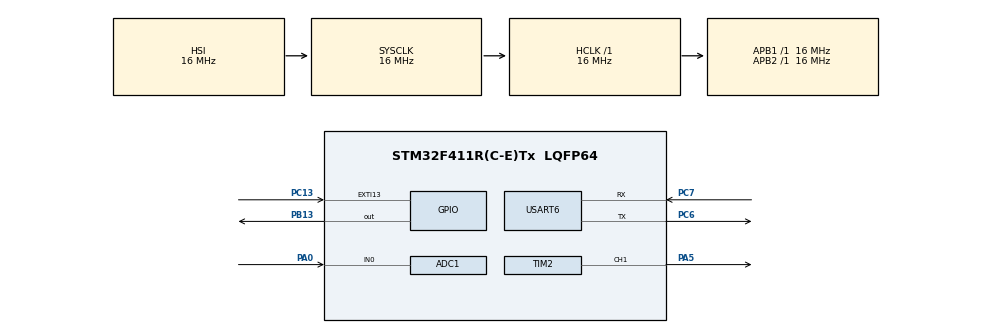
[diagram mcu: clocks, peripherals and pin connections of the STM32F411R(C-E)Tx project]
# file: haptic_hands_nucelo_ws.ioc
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ADC1.Channel-0\#ChannelRegularConversion=ADC_CHANNEL_0
ADC1.ContinuousConvMode=DISABLE
ADC1.DMAContinuousRequests=ENABLE
ADC1.ExternalTrigConv=ADC_EXTERNALTRIGCONV_T3_TRGO
ADC1.InjNumberOfConversion=0
ADC1.NbrOfConversion=1
ADC1.NbrOfConversionFlag=1
ADC1.Rank-0\#ChannelRegularConversion=1
ADC1.SamplingTime-0\#ChannelRegularConversion=ADC_SAMPLETIME_3CYCLES
ADC1.master=1
Dma.ADC1.0.Direction=DMA_PERIPH_TO_MEMORY
Dma.ADC1.0.FIFOMode=DMA_FIFOMODE_DISABLE
Dma.ADC1.0.Instance=DMA2_Stream0
Dma.ADC1.0.MemDataAlignment=DMA_MDATAALIGN_HALFWORD
Dma.ADC1.0.MemInc=DMA_MINC_ENABLE
Dma.ADC1.0.Mode=DMA_CIRCULAR
Dma.ADC1.0.PeriphDataAlignment=DMA_PDATAALIGN_HALFWORD
Dma.ADC1.0.PeriphInc=DMA_PINC_DISABLE
Dma.ADC1.0.Priority=DMA_PRIORITY_LOW
Dma.Request0=ADC1
Dma.Request1=USART6_RX
Dma.USART6_RX.1.Direction=DMA_PERIPH_TO_MEMORY
Dma.USART6_RX.1.FIFOMode=DMA_FIFOMODE_DISABLE
Dma.USART6_RX.1.Instance=DMA2_Stream1
Dma.USART6_RX.1.MemDataAlignment=DMA_MDATAALIGN_BYTE
Dma.USART6_RX.1.MemInc=DMA_MINC_ENABLE
Dma.USART6_RX.1.Mode=DMA_CIRCULAR
Dma.USART6_RX.1.PeriphDataAlignment=DMA_PDATAALIGN_BYTE
Dma.USART6_RX.1.PeriphInc=DMA_PINC_DISABLE
Dma.USART6_RX.1.Priority=DMA_PRIORITY_LOW
Mcu.Family=STM32F4
Mcu.Name=STM32F411R(C-E)Tx
Mcu.Package=LQFP64
NVIC.DMA2_Stream0_IRQn=true\:0\:0\:false\:false\:true\:false\:true\:true
NVIC.DMA2_Stream1_IRQn=true\:0\:0\:false\:false\:true\:false\:true\:true
NVIC.EXTI15_10_IRQn=true\:0\:0\:false\:false\:true\:true\:true\:true
NVIC.PriorityGroup=NVIC_PRIORITYGROUP_4
NVIC.TIM3_IRQn=true\:0\:0\:false\:false\:true\:true\:true\:true
PA0-WKUP.Signal=ADCx_IN0
PA5.Signal=S_TIM2_CH1_ETR
PB13.Signal=GPIO_Output
PC13-ANTI_TAMP.Signal=GPXTI13
PC6.Mode=Asynchronous
PC6.Signal=USART6_TX
PC7.Mode=Asynchronous
PC7.Signal=USART6_RX
ProjectManager.HeapSize=0x200
ProjectManager.StackSize=0x400
ProjectManager.TargetToolchain=STM32CubeIDE
RCC.AHBFreq_Value=16000000
RCC.APB1Freq_Value=16000000
RCC.APB2Freq_Value=16000000
RCC.CortexFreq_Value=16000000
RCC.HSE_VALUE=25000000
RCC.HSI_VALUE=16000000
RCC.LSE_VALUE=32768
RCC.SYSCLKFreq_VALUE=16000000
RCC.VCOOutputFreq_Value=192000000
SH.ADCx_IN0.0=ADC1_IN0,IN0
SH.S_TIM2_CH1_ETR.0=TIM2_CH1,PWM Generation1 CH1
TIM2.AutoReloadPreload=TIM_AUTORELOAD_PRELOAD_ENABLE
TIM2.Channel-PWM\ Generation1\ CH1=TIM_CHANNEL_1
TIM2.Period=80000
TIM2.Prescaler=3
TIM3.Period=16000-1
TIM3.TIM_MasterOutputTrigger=TIM_TRGO_UPDATE
USART6.VirtualMode=VM_ASYNC
VP_TIM2_VS_ClockSourceINT.Mode=Internal
VP_TIM3_VS_ClockSourceINT.Mode=Internal
board=custom

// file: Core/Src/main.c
/* USER CODE BEGIN Header */
/**
  ******************************************************************************
  * @file           : main.c
  * @brief          : Main program body
  ******************************************************************************
  * @attention
  *
  * Copyright (c) 2022 STMicroelectronics.
  * All rights reserved.
  *
  * This software is licensed under terms that can be found in the LICENSE file
  * in the root directory of this software component.
  * If no LICENSE file comes with this software, it is provided AS-IS.
  *
  ******************************************************************************
  */
/* USER CODE END Header */
#include "main.h"

/* USER CODE BEGIN Includes */
#include "potentiometer.h"
#include "servo.h"
#include "comms.h"

/* USER CODE END Includes */

 ADC_HandleTypeDef hadc1;
DMA_HandleTypeDef hdma_adc1;

TIM_HandleTypeDef htim2;
TIM_HandleTypeDef htim3;

UART_HandleTypeDef huart6;
DMA_HandleTypeDef hdma_usart6_rx;

/* USER CODE BEGIN PV */
uint32_t adc_buffer[10];
FingerState finger_state = (FingerState){.valid=0,
										  .angle0=0, .coll0=0,
										  .angle1=0, .coll1=0,
										  .angle2=0, .coll2=0,
										  .angle3=0, .coll3=0,
										  .angle4=0, .coll4=0};

/* USER CODE END PV */

void SystemClock_Config(void);
static void MX_GPIO_Init(void);
static void MX_DMA_Init(void);
static void MX_ADC1_Init(void);
static void MX_USART6_UART_Init(void);
static void MX_TIM2_Init(void);
static void MX_TIM3_Init(void);

/* USER CODE BEGIN 0 */

//#define DEBUG
#ifdef DEBUG
void HAL_Delay(uint32_t Delay){
	for(volatile int i = 0; i < Delay * 1000; ++i);
}
#endif

void HAL_GPIO_EXTI_Callback(uint16_t GPIO_PIN){
	if(GPIO_PIN != GPIO_PIN_13) return;
	//Map & calibrate potentiometers with servos on PC
  unsigned int num_fingers = 1; //Update as we add more
	HAL_Delay(500);
	for(int i = 0; i<5; ++i){
		servoSetPos(i % num_fingers, 0); //Update per finger
	}
	HAL_Delay(1500);
	uint16_t pot_readings[5];
	for(int i = 0; i<5; ++i){
		pot_readings[i] = potRead(i % num_fingers); //Update per finger
	}
	sendCommand(CALIBRATEZERO, pot_readings[0], pot_readings[1], pot_readings[2], pot_readings[3], pot_readings[4]);
	HAL_Delay(1500);
	for(int i = 0; i<5; ++i){
		servoSetPos(i % num_fingers, 180); //Update per finger
	}			//Will 180 break someone's fingers?
	HAL_Delay(10); //Let DMA update
	for(int i = 0; i<5; ++i){
		pot_readings[i] = potRead(i % num_fingers); //Update per finger
	}
	sendCommand(CALIBRATEMAX, pot_readings[0], pot_readings[1], pot_readings[2], pot_readings[3], pot_readings[4]);
}
/* USER CODE END 0 */

int main(void)
{

  /* MCU Configuration--------------------------------------------------------*/

  /* Reset of all peripherals, Initializes the Flash interface and the Systick. */
  HAL_Init();

  /* Configure the system clock */
  SystemClock_Config();

  /* Initialize all configured peripherals */
  MX_GPIO_Init();
  MX_DMA_Init();
  MX_ADC1_Init();
  MX_USART6_UART_Init();
  MX_TIM2_Init();
  MX_TIM3_Init();
  /* USER CODE BEGIN 2 */

  // Data buffer
  //  uint32_t buffer[10];
  // Start timer
  HAL_TIM_PWM_Start(&htim2, TIM_CHANNEL_1);

  // Timer for DMA ADC conversions
  HAL_TIM_Base_Start_IT(&htim3);

  // Start ADC dma
  // Timer 3 starts DMA conversion once per millisecond
  HAL_ADC_Start_DMA(&hadc1, &adc_buffer, 1);

  // Starts UART receive interrupts
  UART_INIT();

  // Variable initialization
  volatile uint16_t pot_reading;
  uint8_t ang_deg = 0;
  servoSetPos(0, 0);
  uint16_t f1_ang;

  // Function to test servo and potentiometer
  // Reads pot value, sends it via uart, moves servo accordingly
  void servo_follow(){
	pot_reading = potRead(0);

	// Send SOP, msb, lsb
//	uint8_t sendData[4] = {'$', (pot_reading >> 8) & 0x0F, pot_reading & 0xFF};

//	HAL_UART_Transmit(&huart6, &sendData, sizeof(sendData), 200);

	sendCommand('1', pot_reading, pot_reading, pot_reading, pot_reading, pot_reading);

//	ang_deg = (pot_reading * (180.0 / 4095));
//	servoSetPos(0, ang_deg);
	HAL_Delay(10);
  }
//

  /* USER CODE END 2 */

  /* Infinite loop */
  /* USER CODE BEGIN WHILE */
  while (1)
  {
	 servo_follow();

	 // Check finger states. FingerState struct should be getting auto-updated
//	 updateFingerState();
	 char coll0 = finger_state.coll0;
	 char coll1 = finger_state.coll1;
	 char coll2 = finger_state.coll2;
	 char coll3 = finger_state.coll3;
	 char coll4 = finger_state.coll4;
	 // Checks for collision with index finger
	 if(coll1 == '1'){
		 // collision
		 //uint16_t col = 0;
		 pot_reading = potRead(0);
		 ang_deg = (pot_reading * (180.0 / 4095));
		 f1_ang = finger_state.angle1;
		 uint8_t f1_ang_deg = (f1_ang * (180.0 / 4095));
		 servoSetPos(0, f1_ang_deg);

		 clearFingerState();
	 }

	 // reset servo if pot moves backwards
	 if(potRead(0) < f1_ang){
		 servoSetPos(0, 0);
	 }

    /* USER CODE END WHILE */

  }
}

void SystemClock_Config(void)
{
  RCC_OscInitTypeDef RCC_OscInitStruct = {0};
  RCC_ClkInitTypeDef RCC_ClkInitStruct = {0};

  /** Configure the main internal regulator output voltage
  */
  __HAL_RCC_PWR_CLK_ENABLE();
  __HAL_PWR_VOLTAGESCALING_CONFIG(PWR_REGULATOR_VOLTAGE_SCALE1);

  /** Initializes the RCC Oscillators according to the specified parameters
  * in the RCC_OscInitTypeDef structure.
  */
  RCC_OscInitStruct.OscillatorType = RCC_OSCILLATORTYPE_HSI;
  RCC_OscInitStruct.HSIState = RCC_HSI_ON;
  RCC_OscInitStruct.HSICalibrationValue = RCC_HSICALIBRATION_DEFAULT;
  RCC_OscInitStruct.PLL.PLLState = RCC_PLL_NONE;
  if (HAL_RCC_OscConfig(&RCC_OscInitStruct) != HAL_OK)
  {
    Error_Handler();
  }

  /** Initializes the CPU, AHB and APB buses clocks
  */
  RCC_ClkInitStruct.ClockType = RCC_CLOCKTYPE_HCLK|RCC_CLOCKTYPE_SYSCLK
                              |RCC_CLOCKTYPE_PCLK1|RCC_CLOCKTYPE_PCLK2;
  RCC_ClkInitStruct.SYSCLKSource = RCC_SYSCLKSOURCE_HSI;
  RCC_ClkInitStruct.AHBCLKDivider = RCC_SYSCLK_DIV1;
  RCC_ClkInitStruct.APB1CLKDivider = RCC_HCLK_DIV1;
  RCC_ClkInitStruct.APB2CLKDivider = RCC_HCLK_DIV1;

  if (HAL_RCC_ClockConfig(&RCC_ClkInitStruct, FLASH_LATENCY_0) != HAL_OK)
  {
    Error_Handler();
  }
}

static void MX_ADC1_Init(void)
{

  ADC_ChannelConfTypeDef sConfig = {0};

  /** Configure the global features of the ADC (Clock, Resolution, Data Alignment and number of conversion)
  */
  hadc1.Instance = ADC1;
  hadc1.Init.ClockPrescaler = ADC_CLOCK_SYNC_PCLK_DIV2;
  hadc1.Init.Resolution = ADC_RESOLUTION_12B;
  hadc1.Init.ScanConvMode = DISABLE;
  hadc1.Init.ContinuousConvMode = DISABLE;
  hadc1.Init.DiscontinuousConvMode = DISABLE;
  hadc1.Init.ExternalTrigConvEdge = ADC_EXTERNALTRIGCONVEDGE_RISING;
  hadc1.Init.ExternalTrigConv = ADC_EXTERNALTRIGCONV_T3_TRGO;
  hadc1.Init.DataAlign = ADC_DATAALIGN_RIGHT;
  hadc1.Init.NbrOfConversion = 1;
  hadc1.Init.DMAContinuousRequests = ENABLE;
  hadc1.Init.EOCSelection = ADC_EOC_SINGLE_CONV;
  if (HAL_ADC_Init(&hadc1) != HAL_OK)
  {
    Error_Handler();
  }

  /** Configure for the selected ADC regular channel its corresponding rank in the sequencer and its sample time.
  */
  sConfig.Channel = ADC_CHANNEL_0;
  sConfig.Rank = 1;
  sConfig.SamplingTime = ADC_SAMPLETIME_3CYCLES;
  if (HAL_ADC_ConfigChannel(&hadc1, &sConfig) != HAL_OK)
  {
    Error_Handler();
  }

}

static void MX_TIM2_Init(void)
{

  TIM_ClockConfigTypeDef sClockSourceConfig = {0};
  TIM_MasterConfigTypeDef sMasterConfig = {0};
  TIM_OC_InitTypeDef sConfigOC = {0};

  htim2.Instance = TIM2;
  htim2.Init.Prescaler = 3;
  htim2.Init.CounterMode = TIM_COUNTERMODE_UP;
  htim2.Init.Period = 80000;
  htim2.Init.ClockDivision = TIM_CLOCKDIVISION_DIV1;
  htim2.Init.AutoReloadPreload = TIM_AUTORELOAD_PRELOAD_ENABLE;
  if (HAL_TIM_Base_Init(&htim2) != HAL_OK)
  {
    Error_Handler();
  }
  sClockSourceConfig.ClockSource = TIM_CLOCKSOURCE_INTERNAL;
  if (HAL_TIM_ConfigClockSource(&htim2, &sClockSourceConfig) != HAL_OK)
  {
    Error_Handler();
  }
  if (HAL_TIM_PWM_Init(&htim2) != HAL_OK)
  {
    Error_Handler();
  }
  sMasterConfig.MasterOutputTrigger = TIM_TRGO_RESET;
  sMasterConfig.MasterSlaveMode = TIM_MASTERSLAVEMODE_DISABLE;
  if (HAL_TIMEx_MasterConfigSynchronization(&htim2, &sMasterConfig) != HAL_OK)
  {
    Error_Handler();
  }
  sConfigOC.OCMode = TIM_OCMODE_PWM1;
  sConfigOC.Pulse = 0;
  sConfigOC.OCPolarity = TIM_OCPOLARITY_HIGH;
  sConfigOC.OCFastMode = TIM_OCFAST_DISABLE;
  if (HAL_TIM_PWM_ConfigChannel(&htim2, &sConfigOC, TIM_CHANNEL_1) != HAL_OK)
  {
    Error_Handler();
  }
  HAL_TIM_MspPostInit(&htim2);

}

static void MX_TIM3_Init(void)
{

  TIM_ClockConfigTypeDef sClockSourceConfig = {0};
  TIM_MasterConfigTypeDef sMasterConfig = {0};

  htim3.Instance = TIM3;
  htim3.Init.Prescaler = 0;
  htim3.Init.CounterMode = TIM_COUNTERMODE_UP;
  htim3.Init.Period = 16000-1;
  htim3.Init.ClockDivision = TIM_CLOCKDIVISION_DIV1;
  htim3.Init.AutoReloadPreload = TIM_AUTORELOAD_PRELOAD_DISABLE;
  if (HAL_TIM_Base_Init(&htim3) != HAL_OK)
  {
    Error_Handler();
  }
  sClockSourceConfig.ClockSource = TIM_CLOCKSOURCE_INTERNAL;
  if (HAL_TIM_ConfigClockSource(&htim3, &sClockSourceConfig) != HAL_OK)
  {
    Error_Handler();
  }
  sMasterConfig.MasterOutputTrigger = TIM_TRGO_UPDATE;
  sMasterConfig.MasterSlaveMode = TIM_MASTERSLAVEMODE_DISABLE;
  if (HAL_TIMEx_MasterConfigSynchronization(&htim3, &sMasterConfig) != HAL_OK)
  {
    Error_Handler();
  }

}

static void MX_USART6_UART_Init(void)
{

  huart6.Instance = USART6;
  huart6.Init.BaudRate = 115200;
  huart6.Init.WordLength = UART_WORDLENGTH_8B;
  huart6.Init.StopBits = UART_STOPBITS_1;
  huart6.Init.Parity = UART_PARITY_NONE;
  huart6.Init.Mode = UART_MODE_TX_RX;
  huart6.Init.HwFlowCtl = UART_HWCONTROL_NONE;
  huart6.Init.OverSampling = UART_OVERSAMPLING_16;
  if (HAL_UART_Init(&huart6) != HAL_OK)
  {
    Error_Handler();
  }

}

static void MX_DMA_Init(void)
{

  /* DMA controller clock enable */
  __HAL_RCC_DMA2_CLK_ENABLE();

  /* DMA interrupt init */
  /* DMA2_Stream0_IRQn interrupt configuration */
  HAL_NVIC_SetPriority(DMA2_Stream0_IRQn, 0, 0);
  HAL_NVIC_EnableIRQ(DMA2_Stream0_IRQn);
  /* DMA2_Stream1_IRQn interrupt configuration */
  HAL_NVIC_SetPriority(DMA2_Stream1_IRQn, 0, 0);
  HAL_NVIC_EnableIRQ(DMA2_Stream1_IRQn);

}

static void MX_GPIO_Init(void)
{
  GPIO_InitTypeDef GPIO_InitStruct = {0};

  /* GPIO Ports Clock Enable */
  __HAL_RCC_GPIOC_CLK_ENABLE();
  __HAL_RCC_GPIOA_CLK_ENABLE();
  __HAL_RCC_GPIOB_CLK_ENABLE();

  /*Configure GPIO pin Output Level */
  HAL_GPIO_WritePin(GPIOB, GPIO_PIN_13, GPIO_PIN_RESET);

  /*Configure GPIO pin : PC13 */
  GPIO_InitStruct.Pin = GPIO_PIN_13;
  GPIO_InitStruct.Mode = GPIO_MODE_IT_RISING;
  GPIO_InitStruct.Pull = GPIO_NOPULL;
  HAL_GPIO_Init(GPIOC, &GPIO_InitStruct);

  /*Configure GPIO pin : PB13 */
  GPIO_InitStruct.Pin = GPIO_PIN_13;
  GPIO_InitStruct.Mode = GPIO_MODE_OUTPUT_PP;
  GPIO_InitStruct.Pull = GPIO_NOPULL;
  GPIO_InitStruct.Speed = GPIO_SPEED_FREQ_LOW;
  HAL_GPIO_Init(GPIOB, &GPIO_InitStruct);

  /* EXTI interrupt init*/
  HAL_NVIC_SetPriority(EXTI15_10_IRQn, 0, 0);
  HAL_NVIC_EnableIRQ(EXTI15_10_IRQn);

}

void Error_Handler(void)
{
  __disable_irq();
  while (1)
  {
  }
}
